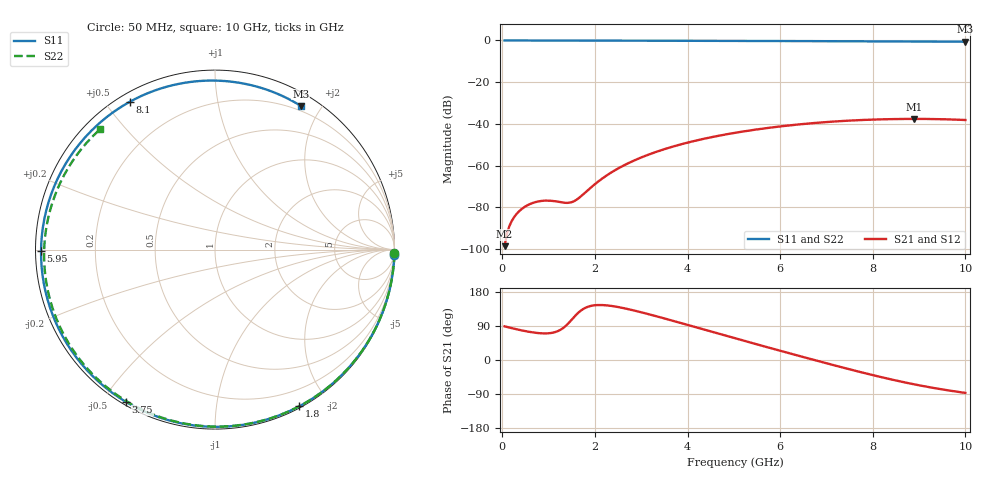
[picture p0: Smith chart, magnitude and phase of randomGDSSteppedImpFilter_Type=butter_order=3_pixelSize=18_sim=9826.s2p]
! freq	dB(S11)	phase(S11)	dB(S12)	phase(S12)
!  dB(S21)	phase(S21)	dB(S22)	phase(S22)
!S-par simulation data
#  GHz  S  DB  R 50
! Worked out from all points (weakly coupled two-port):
!   200 points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, 50 MHz to 10 GHz, reference 50 ohm
!   highest |S21| = -37.59 dB at 8.9 GHz (marker M1); lowest = -98.6 dB at 50 MHz (marker M2)
!   lowest |S11| = -0.6 dB at 10 GHz (marker M3), VSWR 28.63, Z = 7.13 + j87.6 ohm
!   |S11| at or under -10 dB: nowhere
!   |S22| runs from -0.7 to 0.0 dB; largest |S21 - S12| = 0
!   S11 on the Smith chart (normalised r, x): 50 MHz: 0, -64; 1.8 GHz: 0.02, -1.68; 3.75 GHz: 0.01, -0.57; 5.95 GHz: 0.02, -0.00; 8.1 GHz: 0.03, +0.58; 10 GHz: 0.14, +1.75
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0.05  -0.00 -1.8  -98.56 88.8  -98.56 88.8  -0.00 -1.2
0.45  -0.02 -15.9  -80.24 77.4  -80.24 77.4  -0.01 -11.0
0.7  -0.03 -24.6  -77.56 72.1  -77.56 72.1  -0.02 -17.0
0.9  -0.04 -31.5  -76.78 70.1  -76.78 70.1  -0.03 -21.8
1.45  -0.06 -50.1  -77.73 99.8  -77.73 99.8  -0.04 -35.0
1.6  -0.07 -55.1  -76.36 119.9  -76.36 119.9  -0.05 -38.5
1.75  -0.07 -60.0  -73.68 134.7  -73.68 134.7  -0.05 -42.0
1.8  -0.08 -61.6  -72.69 138.0  -72.69 138.0  -0.05 -43.2
2.15  -0.09 -72.8  -66.28 145.0  -66.28 145.0  -0.07 -51.3
2.5  -0.10 -83.7  -61.35 139.8  -61.35 139.8  -0.08 -59.3
3.4  -0.14 -110.3  -52.80 113.0  -52.80 113.0  -0.10 -79.3
3.75  -0.15 -120.2  -50.43 101.2  -50.43 101.2  -0.12 -86.9
4.4  -0.18 -138.1  -46.89 78.9  -46.89 78.9  -0.14 -100.8
5.05  -0.21 -155.5  -44.16 56.5  -44.16 56.5  -0.18 -114.4
5.95  -0.27 -179.5  -41.33 26.1  -41.33 26.1  -0.23 -133.0
6.7  -0.33 160.1  -39.62 1.2  -39.62 1.2  -0.29 -148.6
7.4  -0.38 140.4  -38.51 -21.4  -38.51 -21.4  -0.35 -163.4
8.1  -0.44 119.8  -37.85 -42.8  -37.85 -42.8  -0.42 -178.9
8.35  -0.46 112.2  -37.71 -50.0  -37.71 -50.0  -0.45 175.4
8.9  -0.51 95.0  -37.59 -64.4  -37.59 -64.4  -0.52 162.3
9.45  -0.56 77.3  -37.71 -76.6  -37.71 -76.6  -0.59 148.4
10  -0.61 59.2  -38.12 -86.9  -38.12 -86.9  -0.66 133.7
